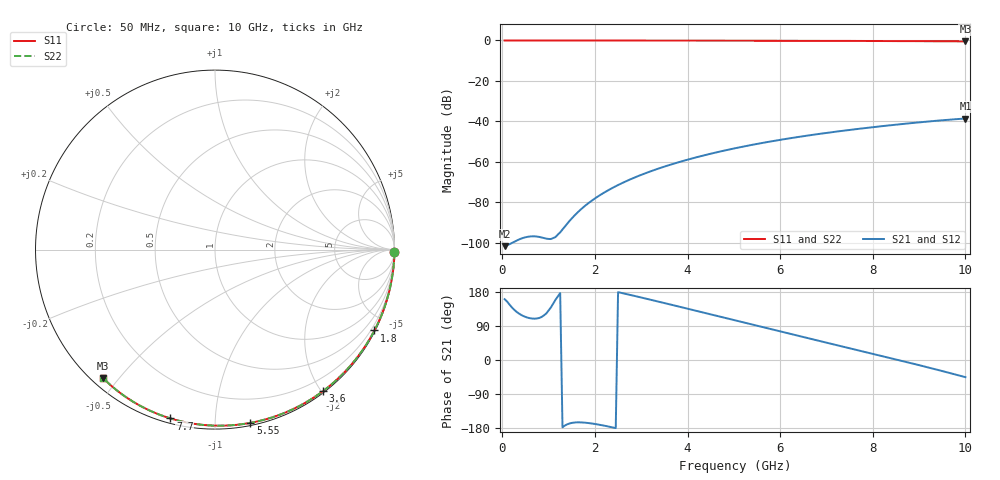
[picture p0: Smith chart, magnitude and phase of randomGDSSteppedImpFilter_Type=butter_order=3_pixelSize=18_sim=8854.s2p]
! freq	dB(S11)	phase(S11)	dB(S12)	phase(S12)
!  dB(S21)	phase(S21)	dB(S22)	phase(S22)
!S-par simulation data
#  GHz  S  DB  R 50
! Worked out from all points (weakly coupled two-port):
!   200 points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, 50 MHz to 10 GHz, reference 50 ohm
!   highest |S21| = -38.58 dB at 10 GHz (marker M1); lowest = -101.7 dB at 50 MHz (marker M2)
!   lowest |S11| = -0.5 dB at 10 GHz (marker M3), VSWR 38.46, Z = 1.57 - j22.7 ohm
!   |S11| at or under -10 dB: nowhere
!   |S22| runs from -0.5 to 0.0 dB; largest |S21 - S12| = 0
!   S11 on the Smith chart (normalised r, x): 50 MHz: open; 1.8 GHz: 0.04, -4.19; 3.6 GHz: 0.02, -2.03; 5.55 GHz: 0.02, -1.22; 7.7 GHz: 0.02, -0.77; 10 GHz: 0.03, -0.45
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0.05  -0.00 -0.8  -101.69 160.5  -101.69 160.5  -0.00 -0.8
0.9  -0.02 -13.6  -97.68 117.8  -97.68 117.8  -0.02 -13.6
1.75  -0.03 -26.1  -82.45 -165.0  -82.45 -165.0  -0.03 -26.1
1.8  -0.03 -26.9  -81.50 -165.5  -81.50 -165.5  -0.03 -26.9
1.85  -0.04 -27.6  -80.60 -166.2  -80.60 -166.2  -0.04 -27.6
1.9  -0.04 -28.3  -79.73 -166.9  -79.73 -166.9  -0.04 -28.3
2.05  -0.04 -30.5  -77.33 -169.8  -77.33 -169.8  -0.04 -30.5
2.25  -0.04 -33.4  -74.52 -174.5  -74.52 -174.5  -0.04 -33.4
2.45  -0.05 -36.3  -72.04 -179.6  -72.04 -179.6  -0.05 -36.3
2.65  -0.05 -39.2  -69.83 174.9  -69.83 174.9  -0.05 -39.2
3  -0.06 -44.1  -66.43 164.9  -66.43 164.9  -0.06 -44.1
3.4  -0.07 -49.8  -63.11 153.2  -63.11 153.2  -0.07 -49.8
3.6  -0.07 -52.5  -61.63 147.3  -61.63 147.3  -0.07 -52.5
4.3  -0.09 -62.1  -57.12 126.5  -57.12 126.5  -0.09 -62.1
5.05  -0.11 -72.0  -53.17 104.0  -53.17 104.0  -0.11 -72.0
5.55  -0.13 -78.5  -50.93 89.0  -50.93 89.0  -0.13 -78.5
6.1  -0.15 -85.4  -48.75 72.5  -48.75 72.5  -0.15 -85.4
6.7  -0.18 -92.8  -46.66 54.6  -46.66 54.6  -0.18 -92.8
7.7  -0.24 -104.8  -43.67 25.2  -43.67 25.2  -0.24 -104.8
8.35  -0.29 -112.4  -41.99 6.0  -41.99 6.0  -0.29 -112.4
9.15  -0.36 -121.5  -40.16 -18.2  -40.16 -18.2  -0.36 -121.5
10  -0.45 -131.1  -38.58 -45.3  -38.58 -45.3  -0.45 -131.1
